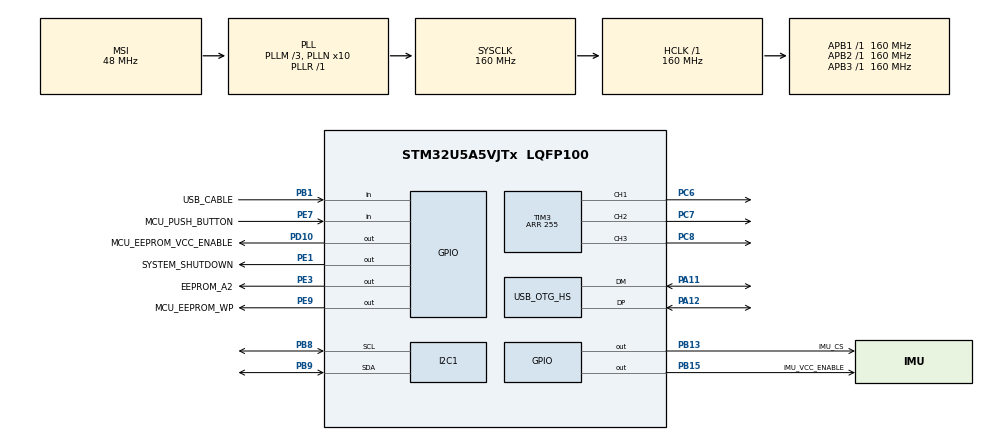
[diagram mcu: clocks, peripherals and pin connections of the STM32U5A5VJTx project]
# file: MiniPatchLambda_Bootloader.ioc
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CORTEX_M33_NS.userName=CORTEX_M33
I2C1.Timing=0x30909DEC
IWDG.Prescaler=IWDG_PRESCALER_256
IWDG.Reload=2624
Mcu.Family=STM32U5
Mcu.Name=STM32U5A5VJTx
Mcu.Package=LQFP100
NVIC.OTG_HS_IRQn=true\:0\:0\:false\:false\:true\:true\:true\:true
NVIC.PriorityGroup=NVIC_PRIORITYGROUP_4
PA11.Mode=Internal_Phy_Device
PA11.Signal=USB_OTG_HS_DM
PA12.Mode=Internal_Phy_Device
PA12.Signal=USB_OTG_HS_DP
PB1.GPIO_Label=USB_CABLE
PB1.Signal=GPIO_Input
PB13.GPIO_Label=IMU_CS
PB13.Signal=GPIO_Output
PB15.GPIO_Label=IMU_VCC_ENABLE
PB15.Signal=GPIO_Output
PB8.Mode=I2C
PB8.Signal=I2C1_SCL
PB9.Mode=I2C
PB9.Signal=I2C1_SDA
PC14-OSC32_IN\ (PC14).Mode=LSE-External-Oscillator
PC14-OSC32_IN\ (PC14).Signal=RCC_OSC32_IN
PC15-OSC32_OUT\ (PC15).Mode=LSE-External-Oscillator
PC15-OSC32_OUT\ (PC15).Signal=RCC_OSC32_OUT
PC6.Signal=S_TIM3_CH1
PC7.Signal=S_TIM3_CH2
PC8.Signal=S_TIM3_CH3
PD10.GPIO_Label=MCU_EEPROM_VCC_ENABLE
PD10.Signal=GPIO_Output
PE1.GPIO_Label=SYSTEM_SHUTDOWN
PE1.Signal=GPIO_Output
PE3.GPIO_Label=EEPROM_A2
PE3.Signal=GPIO_Output
PE7.GPIO_Label=MCU_PUSH_BUTTON
PE7.Signal=GPIO_Input
PE9.GPIO_Label=MCU_EEPROM_WP
PE9.Signal=GPIO_Output
PH0-OSC_IN\ (PH0).Mode=HSE-External-Oscillator
PH0-OSC_IN\ (PH0).Signal=RCC_OSC_IN
PH1-OSC_OUT\ (PH1).Mode=HSE-External-Oscillator
PH1-OSC_OUT\ (PH1).Signal=RCC_OSC_OUT
ProjectManager.HeapSize=0x200
ProjectManager.StackSize=0x400
ProjectManager.TargetToolchain=STM32CubeIDE
RCC.ADCFreq_Value=16000000
RCC.AHBFreq_Value=160000000
RCC.APB1Freq_Value=160000000
RCC.APB1TimFreq_Value=160000000
RCC.APB2Freq_Value=160000000
RCC.APB2TimFreq_Value=160000000
RCC.APB3Freq_Value=160000000
RCC.CortexFreq_Value=160000000
RCC.EPOD_VALUE=48000000
RCC.HCLKFreq_Value=160000000
RCC.HSE_VALUE=16000000
RCC.HSI48_VALUE=48000000
RCC.HSI_VALUE=16000000
RCC.LSIDIV_VALUE=32000
RCC.MSIClockRange=RCC_MSIRANGE_0
RCC.MSI_VALUE=48000000
RCC.PLL1R=1
RCC.PLL2FRACN=0
RCC.PLL3FRACN=0
RCC.PLLFRACN=0
RCC.PLLM=3
RCC.PLLN=10
RCC.RTCClockSelection=RCC_RTCCLKSOURCE_LSE
RCC.SYSCLKFreq_VALUE=160000000
RCC.SYSCLKSource=RCC_SYSCLKSOURCE_PLLCLK
RCC.USBPHYCLockSelection=RCC_USBPHYCLKSOURCE_HSE
RCC.VCOOutputFreq_Value=160000000
SH.S_TIM3_CH1.0=TIM3_CH1,PWM Generation1 CH1
SH.S_TIM3_CH2.0=TIM3_CH2,PWM Generation2 CH2
SH.S_TIM3_CH3.0=TIM3_CH3,PWM Generation3 CH3
TIM3.Channel-PWM\ Generation1\ CH1=TIM_CHANNEL_1
TIM3.Channel-PWM\ Generation2\ CH2=TIM_CHANNEL_2
TIM3.Channel-PWM\ Generation3\ CH3=TIM_CHANNEL_3
TIM3.PeriodNoDither=255
USB_OTG_HS.VirtualMode=Device_HS
VP_IWDG_VS_IWDG.Mode=IWDG_Activate
VP_LPBAMQUEUE_VS_QUEUE.Mode=QUEUEMODE
VP_LPBAM_VS_SIG1.Mode=SmartRun
VP_LPBAM_VS_SIG4.Mode=LPDMA1
VP_MEMORYMAP_VS_MEMORYMAP.Mode=CurAppReg
VP_PWR_VS_SECSignals.Mode=Security/Privilege
VP_RTC_VS_RTC_Activate.Mode=RTC_Enabled
VP_RTC_VS_RTC_Calendar.Mode=RTC_Calendar
board=custom

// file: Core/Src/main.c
/* USER CODE BEGIN Header */
/**
  ******************************************************************************
  * @file           : main.c
  * @brief          : Main program body
  ******************************************************************************
  * @attention
  *
  * Copyright (c) 2025 STMicroelectronics.
  * All rights reserved.
  *
  * This software is licensed under terms that can be found in the LICENSE file
  * in the root directory of this software component.
  * If no LICENSE file comes with this software, it is provided AS-IS.
  *
  ******************************************************************************
  */
/* USER CODE END Header */
#include "main.h"

/* USER CODE BEGIN Includes */
#include "usb_device.h"
#include "at24c32_driver.h"
#include "bootloader_driver.h"
/* USER CODE END Includes */

I2C_HandleTypeDef hi2c1;

IWDG_HandleTypeDef hiwdg;

RTC_HandleTypeDef hrtc;

TIM_HandleTypeDef htim3;

PCD_HandleTypeDef hpcd_USB_OTG_HS;

/* USER CODE BEGIN PV */
S_AT24C32_t at24c32;

BootloaderCtx_t bootloaderCTX;
/* USER CODE END PV */

void SystemClock_Config(void);
static void MX_GPIO_Init(void);
static void MX_I2C1_Init(void);
static void MX_TIM3_Init(void);
static void MX_RTC_Init(void);
static void MX_IWDG_Init(void);

int main(void)
{

  /* MCU Configuration--------------------------------------------------------*/

  /* Reset of all peripherals, Initializes the Flash interface and the Systick. */
  HAL_Init();

  /* Configure the system clock */
  SystemClock_Config();

  /* Initialize all configured peripherals */
  MX_GPIO_Init();
  MX_I2C1_Init();
  MX_TIM3_Init();
  MX_RTC_Init();
  MX_IWDG_Init();
  /* USER CODE BEGIN 2 */
  AT24C32_Initialization(&at24c32, &hi2c1);

  if(HAL_GPIO_ReadPin(USB_CABLE_GPIO_Port, USB_CABLE_Pin) == GPIO_PIN_SET)
  {
	  MX_USB_DEVICE_Init();
  }

  LED_Red_Init	(&htim3, TIM_CHANNEL_1, 	&bootloaderCTX.ledState.ledRedInfo);
  LED_Green_Init(&htim3, TIM_CHANNEL_2, 	&bootloaderCTX.ledState.ledGreenInfo);
  LED_Blue_Init	(&htim3, TIM_CHANNEL_3, 	&bootloaderCTX.ledState.ledBlueInfo);
  LEDs_Initialization(&bootloaderCTX.ledState);

  bootloaderCTX.ledState.ledRedInfo.redValue	 	= 0x60;
  bootloaderCTX.ledState.ledGreenInfo.greenValue	= 0x00;
  bootloaderCTX.ledState.ledBlueInfo.blueValue		= 0x60;
  RGB_Set_Color(&bootloaderCTX.ledState);

  Bootloader_Init(&bootloaderCTX);
  /* USER CODE END 2 */

  /* Infinite loop */
  while (1)
  {

    /* USER CODE BEGIN 3 */
	  Bootloader_Task(&bootloaderCTX);
  }
  /* USER CODE END 3 */
}

void SystemClock_Config(void)
{
  RCC_OscInitTypeDef RCC_OscInitStruct = {0};
  RCC_ClkInitTypeDef RCC_ClkInitStruct = {0};

  /** Configure the main internal regulator output voltage
  */
  if (HAL_PWREx_ControlVoltageScaling(PWR_REGULATOR_VOLTAGE_SCALE1) != HAL_OK)
  {
    Error_Handler();
  }

  /** Configure LSE Drive Capability
  */
  HAL_PWR_EnableBkUpAccess();
  __HAL_RCC_LSEDRIVE_CONFIG(RCC_LSEDRIVE_LOW);

  /** Initializes the CPU, AHB and APB buses clocks
  */
  RCC_OscInitStruct.OscillatorType = RCC_OSCILLATORTYPE_LSI|RCC_OSCILLATORTYPE_HSE
                              |RCC_OSCILLATORTYPE_LSE|RCC_OSCILLATORTYPE_MSI;
  RCC_OscInitStruct.HSEState = RCC_HSE_ON;
  RCC_OscInitStruct.LSEState = RCC_LSE_ON;
  RCC_OscInitStruct.LSIState = RCC_LSI_ON;
  RCC_OscInitStruct.MSIState = RCC_MSI_ON;
  RCC_OscInitStruct.MSICalibrationValue = RCC_MSICALIBRATION_DEFAULT;
  RCC_OscInitStruct.MSIClockRange = RCC_MSIRANGE_0;
  RCC_OscInitStruct.LSIDiv = RCC_LSI_DIV1;
  RCC_OscInitStruct.PLL.PLLState = RCC_PLL_ON;
  RCC_OscInitStruct.PLL.PLLSource = RCC_PLLSOURCE_MSI;
  RCC_OscInitStruct.PLL.PLLMBOOST = RCC_PLLMBOOST_DIV4;
  RCC_OscInitStruct.PLL.PLLM = 3;
  RCC_OscInitStruct.PLL.PLLN = 10;
  RCC_OscInitStruct.PLL.PLLP = 2;
  RCC_OscInitStruct.PLL.PLLQ = 2;
  RCC_OscInitStruct.PLL.PLLR = 1;
  RCC_OscInitStruct.PLL.PLLRGE = RCC_PLLVCIRANGE_1;
  RCC_OscInitStruct.PLL.PLLFRACN = 0;
  if (HAL_RCC_OscConfig(&RCC_OscInitStruct) != HAL_OK)
  {
    Error_Handler();
  }

  /** Initializes the CPU, AHB and APB buses clocks
  */
  RCC_ClkInitStruct.ClockType = RCC_CLOCKTYPE_HCLK|RCC_CLOCKTYPE_SYSCLK
                              |RCC_CLOCKTYPE_PCLK1|RCC_CLOCKTYPE_PCLK2
                              |RCC_CLOCKTYPE_PCLK3;
  RCC_ClkInitStruct.SYSCLKSource = RCC_SYSCLKSOURCE_PLLCLK;
  RCC_ClkInitStruct.AHBCLKDivider = RCC_SYSCLK_DIV1;
  RCC_ClkInitStruct.APB1CLKDivider = RCC_HCLK_DIV1;
  RCC_ClkInitStruct.APB2CLKDivider = RCC_HCLK_DIV1;
  RCC_ClkInitStruct.APB3CLKDivider = RCC_HCLK_DIV1;

  if (HAL_RCC_ClockConfig(&RCC_ClkInitStruct, FLASH_LATENCY_4) != HAL_OK)
  {
    Error_Handler();
  }
}

static void MX_I2C1_Init(void)
{

  hi2c1.Instance = I2C1;
  hi2c1.Init.Timing = 0x30909DEC;
  hi2c1.Init.OwnAddress1 = 0;
  hi2c1.Init.AddressingMode = I2C_ADDRESSINGMODE_7BIT;
  hi2c1.Init.DualAddressMode = I2C_DUALADDRESS_DISABLE;
  hi2c1.Init.OwnAddress2 = 0;
  hi2c1.Init.OwnAddress2Masks = I2C_OA2_NOMASK;
  hi2c1.Init.GeneralCallMode = I2C_GENERALCALL_DISABLE;
  hi2c1.Init.NoStretchMode = I2C_NOSTRETCH_DISABLE;
  if (HAL_I2C_Init(&hi2c1) != HAL_OK)
  {
    Error_Handler();
  }

  /** Configure Analogue filter
  */
  if (HAL_I2CEx_ConfigAnalogFilter(&hi2c1, I2C_ANALOGFILTER_ENABLE) != HAL_OK)
  {
    Error_Handler();
  }

  /** Configure Digital filter
  */
  if (HAL_I2CEx_ConfigDigitalFilter(&hi2c1, 0) != HAL_OK)
  {
    Error_Handler();
  }

}

static void MX_IWDG_Init(void)
{

  hiwdg.Instance = IWDG;
  hiwdg.Init.Prescaler = IWDG_PRESCALER_256;
  hiwdg.Init.Window = 4095;
  hiwdg.Init.Reload = 2624;
  hiwdg.Init.EWI = 0;
  if (HAL_IWDG_Init(&hiwdg) != HAL_OK)
  {
    Error_Handler();
  }

}

static void MX_RTC_Init(void)
{

  RTC_PrivilegeStateTypeDef privilegeState = {0};

  /** Initialize RTC Only
  */
  hrtc.Instance = RTC;
  hrtc.Init.HourFormat = RTC_HOURFORMAT_24;
  hrtc.Init.AsynchPrediv = 127;
  hrtc.Init.SynchPrediv = 255;
  hrtc.Init.OutPut = RTC_OUTPUT_DISABLE;
  hrtc.Init.OutPutRemap = RTC_OUTPUT_REMAP_NONE;
  hrtc.Init.OutPutPolarity = RTC_OUTPUT_POLARITY_HIGH;
  hrtc.Init.OutPutType = RTC_OUTPUT_TYPE_OPENDRAIN;
  hrtc.Init.OutPutPullUp = RTC_OUTPUT_PULLUP_NONE;
  hrtc.Init.BinMode = RTC_BINARY_NONE;
  if (HAL_RTC_Init(&hrtc) != HAL_OK)
  {
    Error_Handler();
  }
  privilegeState.rtcPrivilegeFull = RTC_PRIVILEGE_FULL_NO;
  privilegeState.backupRegisterPrivZone = RTC_PRIVILEGE_BKUP_ZONE_NONE;
  privilegeState.backupRegisterStartZone2 = RTC_BKP_DR0;
  privilegeState.backupRegisterStartZone3 = RTC_BKP_DR0;
  if (HAL_RTCEx_PrivilegeModeSet(&hrtc, &privilegeState) != HAL_OK)
  {
    Error_Handler();
  }

  /** Initialize RTC and set the Time and Date
  */

}

static void MX_TIM3_Init(void)
{

  TIM_MasterConfigTypeDef sMasterConfig = {0};
  TIM_OC_InitTypeDef sConfigOC = {0};

  htim3.Instance = TIM3;
  htim3.Init.Prescaler = 0;
  htim3.Init.CounterMode = TIM_COUNTERMODE_UP;
  htim3.Init.Period = 255;
  htim3.Init.ClockDivision = TIM_CLOCKDIVISION_DIV1;
  htim3.Init.AutoReloadPreload = TIM_AUTORELOAD_PRELOAD_DISABLE;
  if (HAL_TIM_PWM_Init(&htim3) != HAL_OK)
  {
    Error_Handler();
  }
  sMasterConfig.MasterOutputTrigger = TIM_TRGO_RESET;
  sMasterConfig.MasterSlaveMode = TIM_MASTERSLAVEMODE_DISABLE;
  if (HAL_TIMEx_MasterConfigSynchronization(&htim3, &sMasterConfig) != HAL_OK)
  {
    Error_Handler();
  }
  sConfigOC.OCMode = TIM_OCMODE_PWM1;
  sConfigOC.Pulse = 0;
  sConfigOC.OCPolarity = TIM_OCPOLARITY_HIGH;
  sConfigOC.OCFastMode = TIM_OCFAST_DISABLE;
  if (HAL_TIM_PWM_ConfigChannel(&htim3, &sConfigOC, TIM_CHANNEL_1) != HAL_OK)
  {
    Error_Handler();
  }
  if (HAL_TIM_PWM_ConfigChannel(&htim3, &sConfigOC, TIM_CHANNEL_2) != HAL_OK)
  {
    Error_Handler();
  }
  if (HAL_TIM_PWM_ConfigChannel(&htim3, &sConfigOC, TIM_CHANNEL_3) != HAL_OK)
  {
    Error_Handler();
  }
  HAL_TIM_MspPostInit(&htim3);

}

static void MX_GPIO_Init(void)
{
  GPIO_InitTypeDef GPIO_InitStruct = {0};

  /* GPIO Ports Clock Enable */
  __HAL_RCC_GPIOE_CLK_ENABLE();
  __HAL_RCC_GPIOC_CLK_ENABLE();
  __HAL_RCC_GPIOH_CLK_ENABLE();
  __HAL_RCC_GPIOB_CLK_ENABLE();
  __HAL_RCC_GPIOD_CLK_ENABLE();
  __HAL_RCC_GPIOA_CLK_ENABLE();

  /*Configure GPIO pin Output Level */
  HAL_GPIO_WritePin(GPIOE, EEPROM_A2_Pin|MCU_EEPROM_WP_Pin|SYSTEM_SHUTDOWN_Pin, GPIO_PIN_RESET);

  /*Configure GPIO pin Output Level */
  HAL_GPIO_WritePin(GPIOB, IMU_CS_Pin|IMU_VCC_ENABLE_Pin, GPIO_PIN_RESET);

  /*Configure GPIO pin Output Level */
  HAL_GPIO_WritePin(MCU_EEPROM_VCC_ENABLE_GPIO_Port, MCU_EEPROM_VCC_ENABLE_Pin, GPIO_PIN_RESET);

  /*Configure GPIO pins : EEPROM_A2_Pin MCU_EEPROM_WP_Pin SYSTEM_SHUTDOWN_Pin */
  GPIO_InitStruct.Pin = EEPROM_A2_Pin|MCU_EEPROM_WP_Pin|SYSTEM_SHUTDOWN_Pin;
  GPIO_InitStruct.Mode = GPIO_MODE_OUTPUT_PP;
  GPIO_InitStruct.Pull = GPIO_NOPULL;
  GPIO_InitStruct.Speed = GPIO_SPEED_FREQ_LOW;
  HAL_GPIO_Init(GPIOE, &GPIO_InitStruct);

  /*Configure GPIO pin : USB_CABLE_Pin */
  GPIO_InitStruct.Pin = USB_CABLE_Pin;
  GPIO_InitStruct.Mode = GPIO_MODE_INPUT;
  GPIO_InitStruct.Pull = GPIO_NOPULL;
  HAL_GPIO_Init(USB_CABLE_GPIO_Port, &GPIO_InitStruct);

  /*Configure GPIO pin : MCU_PUSH_BUTTON_Pin */
  GPIO_InitStruct.Pin = MCU_PUSH_BUTTON_Pin;
  GPIO_InitStruct.Mode = GPIO_MODE_INPUT;
  GPIO_InitStruct.Pull = GPIO_NOPULL;
  HAL_GPIO_Init(MCU_PUSH_BUTTON_GPIO_Port, &GPIO_InitStruct);

  /*Configure GPIO pins : IMU_CS_Pin IMU_VCC_ENABLE_Pin */
  GPIO_InitStruct.Pin = IMU_CS_Pin|IMU_VCC_ENABLE_Pin;
  GPIO_InitStruct.Mode = GPIO_MODE_OUTPUT_PP;
  GPIO_InitStruct.Pull = GPIO_NOPULL;
  GPIO_InitStruct.Speed = GPIO_SPEED_FREQ_LOW;
  HAL_GPIO_Init(GPIOB, &GPIO_InitStruct);

  /*Configure GPIO pin : MCU_EEPROM_VCC_ENABLE_Pin */
  GPIO_InitStruct.Pin = MCU_EEPROM_VCC_ENABLE_Pin;
  GPIO_InitStruct.Mode = GPIO_MODE_OUTPUT_PP;
  GPIO_InitStruct.Pull = GPIO_NOPULL;
  GPIO_InitStruct.Speed = GPIO_SPEED_FREQ_LOW;
  HAL_GPIO_Init(MCU_EEPROM_VCC_ENABLE_GPIO_Port, &GPIO_InitStruct);

}

void Error_Handler(void)
{
  __disable_irq();
  while (1)
  {
  }
}
